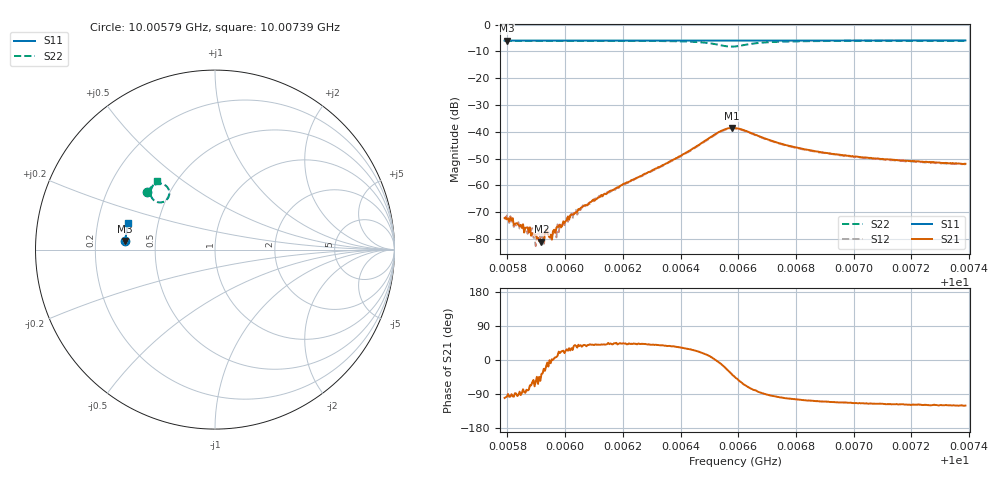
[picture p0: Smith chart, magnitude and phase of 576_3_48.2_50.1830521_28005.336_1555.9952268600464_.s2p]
#  HZ  S  RI  R  50.00
! Rohde & Schwarz Vector Network Analyzer
! Rohde-Schwarz,ZNB20-2Port,1311601062101988,3.16
! Created: UTC 3/20/2024, 12:01:54 PM
! freq[Hz]  re:S11  im:S11  re:S21  im:S21  re:S12  im:S12  re:S22  im:S22
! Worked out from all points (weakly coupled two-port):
!   401 points, 10.00579 GHz to 10.00739 GHz, reference 50 ohm
!   highest |S21| = -38.55 dB at 10.00658 GHz (marker M1); lowest = -81.0 dB at 10.00592 GHz (marker M2)
!   lowest |S11| = -6.0 dB at 10.0058 GHz (marker M3), VSWR 3.02, Z = 16.6 + j2.13 ohm
!   |S11| at or under -10 dB: nowhere
!   |S22| runs from -8.2 to -6.0 dB; largest |S21 - S12| = 0.00094
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1.000579e10  -0.4999 0.0476  -4.32e-05 -0.000241  -4.2e-05 -0.000255  -0.3783 0.3234
1.0005798e10  -0.4997 0.048  -2.63e-05 -0.00023  -1.42e-05 -0.000274  -0.3777 0.3238
1.000581e10  -0.4997 0.0489  -2.9e-05 -0.000252  1.01e-05 -0.000265  -0.3773 0.3247
1.0005862e10  -0.4995 0.052  1e-05 -0.000161  3e-05 -0.000135  -0.3745 0.3277
1.0005878e10  -0.4994 0.0533  6.46e-05 -0.000152  3.44e-05 -0.000147  -0.3736 0.3287
1.0005898e10  -0.4992 0.0547  6.71e-05 -0.000101  2.39e-05 -6.93e-05  -0.3726 0.3302
1.0005918e10  -0.4991 0.0559  7.14e-05 -5.33e-05  7.65e-05 -5.82e-05  -0.3716 0.3313
1.0005934e10  -0.4991 0.0569  0.000143 -4.57e-05  0.000109 -4.63e-05  -0.3707 0.3325
1.0005946e10  -0.499 0.0577  0.000106 -1.34e-06  0.000119 -1.08e-05  -0.3699 0.3331
1.0005962e10  -0.4989 0.0586  0.000148 1.14e-05  0.000145 -3.3e-06  -0.3691 0.3343
1.0005982e10  -0.4988 0.0601  0.000175 5.89e-05  0.000168 8.26e-05  -0.3678 0.3355
1.0006058e10  -0.4983 0.0649  0.000317 0.000223  0.0003 0.000239  -0.3631 0.3405
1.0006142e10  -0.4978 0.0704  0.000517 0.000448  0.000506 0.000505  -0.3569 0.3465
1.0006325e10  -0.4962 0.0822  0.00169 0.00139  0.00157 0.00143  -0.3362 0.3612
1.0006485e10  -0.4943 0.0928  0.00652 0.00183  0.00629 0.00208  -0.2829 0.362
1.0006537e10  -0.4932 0.0957  0.01 -0.00146  0.00983 -0.000926  -0.2552 0.326
1.0006577e10  -0.4927 0.0977  0.00948 -0.00705  0.00965 -0.00627  -0.2701 0.2772
1.0006589e10  -0.4928 0.0986  0.00828 -0.00842  0.0086 -0.00761  -0.2837 0.2678
1.0006677e10  -0.4926 0.1038  0.000574 -0.00805  0.000987 -0.0079  -0.353 0.2906
1.0006857e10  -0.4906 0.1156  -0.00136 -0.00423  -0.00111 -0.00421  -0.3545 0.3398
1.0007124e10  -0.487 0.1325  -0.00136 -0.00273  -0.00118 -0.00272  -0.3384 0.366
1.0007388e10  -0.4828 0.1491  -0.00127 -0.00218  -0.00114 -0.00218  -0.3239 0.3821
